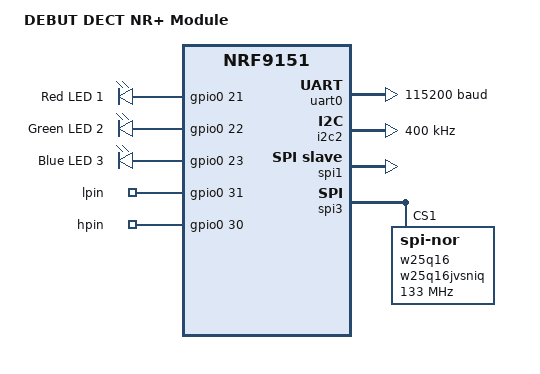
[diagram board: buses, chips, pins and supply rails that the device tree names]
/*
 * Copyright (c) 2025 PHYTEC Messtechnik GmbH
 *
 *
 */
#include "debut_module_nrf9151_common-pinctrl.dtsi"
#include <zephyr/dt-bindings/input/input-event-codes.h>

/ {
	model = "DEBUT DECT NR+ Module";
	compatible = "phytec,debut-module";

	chosen {
		zephyr,console = &uart0;
		zephyr,shell-uart = &uart0;
		zephyr,uart-mcumgr = &uart0;
	};

	leds {
		compatible = "gpio-leds";

		led_red: led_0 {
			gpios = <&gpio0 21 GPIO_ACTIVE_HIGH>;
			label = "Red LED 1";
		};

		led_green: led_1 {
			gpios = <&gpio0 22 GPIO_ACTIVE_HIGH>;
			label = "Green LED 2";
		};

		led_blue: led_2 {
			gpios = <&gpio0 23 GPIO_ACTIVE_HIGH>;
			label = "Blue LED 3";
		};
	};

	/* These aliases are provided for compatibility with samples */
	aliases {
		led0 = &led_red;
		led1 = &led_green;
		led2 = &led_blue;
		bootloader-led0 = &led_blue;
		mcuboot-led0 = &led_blue;
		watchdog0 = &wdt0;
	};

	i2c_address_pins {
		compatible = "gpio-keys";

		lpin: lpin {
			gpios = <&gpio0 31 GPIO_ACTIVE_HIGH>;
		};
		hpin: hpin {
			gpios = <&gpio0 30 GPIO_ACTIVE_HIGH>;
		};
	};
};

&gpiote {
	status = "okay";
};

&gpio0 {
	status = "okay";
};

&uart0 {
	status = "okay";
	current-speed = <115200>;
	pinctrl-0 = <&uart0_default>;
	pinctrl-1 = <&uart0_sleep>;
	pinctrl-names = "default", "sleep";
};

&i2c2 {
	compatible = "nordic,nrf-twim";
	status = "okay";
	pinctrl-0 = <&i2c2_default>;
	pinctrl-1 = <&i2c2_sleep>;
	pinctrl-names = "default", "sleep";
	clock-frequency = <I2C_BITRATE_FAST>;
};

&spi1 {
	compatible = "nordic,nrf-spis"; /* configure as slave */
	status = "okay";
	pinctrl-0 = <&spi1_default>;
	pinctrl-1 = <&spi1_sleep>;
	pinctrl-names = "default", "sleep";
	/* def-char: byte clocked out when slave has no TX buffer prepared */
	def-char = <0x00>;
};

/* connected to SPI NOR */
&spi3 {
	compatible = "nordic,nrf-spim";
	status = "okay";
	cs-gpios = <&gpio0 26 GPIO_ACTIVE_LOW>;
	pinctrl-0 = <&spi3_default>;
	pinctrl-1 = <&spi3_sleep>;
	pinctrl-names = "default", "sleep";

	w25q16: w25q16jvsniq@1 {
		compatible = "jedec,spi-nor";
		status = "okay";
		reg = <1>;
		spi-max-frequency = <133000000>;
		jedec-id = [ef 40 15];
		size = <0x200000>;
		has-dpd;
		t-enter-dpd = <3000>;
		t-exit-dpd = <40000>;
	};
};

/* Include default memory partition configuration file */
#include <nordic/nrf91xx_partition.dtsi>
